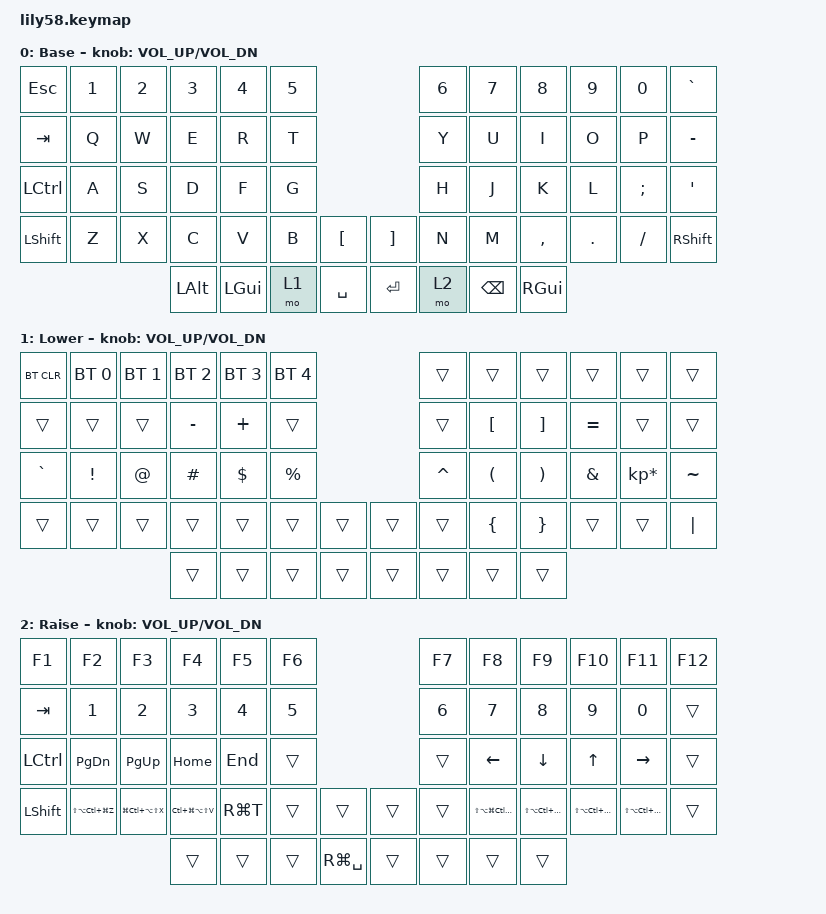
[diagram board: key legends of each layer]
/*
 * Copyright (c) 2020 The ZMK Contributors
 *
 * SPDX-License-Identifier: MIT
 */

#include <behaviors.dtsi>
#include <dt-bindings/zmk/bt.h>
#include <dt-bindings/zmk/keys.h>

/ {
    macros {
        spotlight: spotlight {
            compatible = "zmk,behavior-macro";
            #binding-cells = <0>;
            bindings = <&kp RG(SPACE)>;
            label = "SPOTLIGHT";
        };

        expand_window: expand_window {
            compatible = "zmk,behavior-macro";
            #binding-cells = <0>;
            bindings =
                <&macro_press>,
                <&kp LEFT_SHIFT &kp LCTRL &kp LEFT_ALT &kp LEFT_GUI &kp V>;

            label = "EXPAND_WINDOW";
        };

        next_desktop: next_desktop {
            compatible = "zmk,behavior-macro";
            #binding-cells = <0>;
            bindings =
                <&macro_press>,
                <&kp LEFT_SHIFT &kp RCTRL &kp LEFT_ALT &kp LEFT_GUI &kp X>;

            label = "NEXT_DESKTOP";
        };

        previous_desktop: previous_desktop {
            compatible = "zmk,behavior-macro";
            #binding-cells = <0>;
            bindings =
                <&macro_press>,
                <&kp LEFT_SHIFT &kp LCTRL &kp LEFT_ALT &kp LEFT_GUI &kp Z>;

            label = "PREVIOUS_DESKTOP";
        };

        new_tab: new_tab {
            compatible = "zmk,behavior-macro";
            #binding-cells = <0>;
            bindings = <&macro_press>, <&kp LEFT_GUI &kp T>;

            label = "NEW_TAB";
        };

        window_to_left: window_to_left {
            compatible = "zmk,behavior-macro";
            #binding-cells = <0>;
            bindings =
                <&macro_press>,
                <&kp LEFT_SHIFT &kp LCTRL &kp LEFT_ALT &kp LEFT_GUI &kp LEFT>;

            label = "WINDOW_TO_LEFT";
        };

        window_to_right: window_to_right {
            compatible = "zmk,behavior-macro";
            #binding-cells = <0>;
            bindings =
                <&macro_press>,
                <&kp LEFT_SHIFT &kp LCTRL &kp LEFT_ALT &kp LEFT_GUI &kp RIGHT_ARROW>;

            label = "WINDOW_TO_RIGHT";
        };

        window_to_top: window_to_top {
            compatible = "zmk,behavior-macro";
            #binding-cells = <0>;
            bindings =
                <&macro_press>,
                <&kp LEFT_SHIFT &kp LCTRL &kp LEFT_ALT &kp LEFT_GUI &kp UP_ARROW>;

            label = "WINDOW_TO_TOP";
        };

        window_to_down: window_to_down {
            compatible = "zmk,behavior-macro";
            #binding-cells = <0>;
            bindings =
                <&macro_press>,
                <&kp LEFT_SHIFT &kp LCTRL &kp LEFT_ALT &kp LEFT_GUI &kp DOWN_ARROW>;

            label = "WINDOW_TO_DOWN";
        };
    };

    keymap {
        compatible = "zmk,keymap";

        default_layer {
            // ------------------------------------------------------------------------------------------------------------
            // |  ESC  |  1  |  2  |  3   |  4   |  5   |                   |  6   |  7    |  8    |  9   |   0   |   `   |
            // |  TAB  |  Q  |  W  |  E   |  R   |  T   |                   |  Y   |  U    |  I    |  O   |   P   |   -   |
            // |  CTRL |  A  |  S  |  D   |  F   |  G   |                   |  H   |  J    |  K    |  L   |   ;   |   '   |
            // | SHIFT |  Z  |  X  |  C   |  V   |  B   |   "["  |  |  "]"  |  N   |  M    |  ,    |  .   |   /   | SHIFT |
            //                     | ALT  | GUI  | LOWER|  SPACE |  | ENTER | RAISE| BSPC  | GUI   |

            display-name = "Base";
            bindings = <
&kp ESC    &kp N1  &kp N2  &kp N3    &kp N4    &kp N5                         &kp N6  &kp N7    &kp N8     &kp N9   &kp N0    &kp GRAVE
&kp TAB    &kp Q   &kp W   &kp E     &kp R     &kp T                          &kp Y   &kp U     &kp I      &kp O    &kp P     &kp MINUS
&kp LCTRL  &kp A   &kp S   &kp D     &kp F     &kp G                          &kp H   &kp J     &kp K      &kp L    &kp SEMI  &kp SQT
&kp LSHFT  &kp Z   &kp X   &kp C     &kp V     &kp B   &kp LBKT     &kp RBKT  &kp N   &kp M     &kp COMMA  &kp DOT  &kp FSLH  &kp RSHFT
                           &kp LALT  &kp LGUI  &mo 1   &kp SPACE    &kp RET   &mo 2   &kp BSPC  &kp RGUI
            >;

            sensor-bindings = <&inc_dec_kp C_VOL_UP C_VOL_DN>;
        };

        lower_layer {
            // ------------------------------------------------------------------------------------------------------------
            // | BTCLR | BT1 | BT2 |  BT3 |  BT4 |  BT5 |                   |      |       |       |      |       |       |
            // |  F1   |  F2 |  F3 |  F4  |  F5  |  F6  |                   |  F7  |  F8   |  F9   |  F10 |  F11  |  F12  |
            // |   `   |  !  |  @  |  #   |  $   |  %   |                   |  ^   |  &    |  *    |  (   |   )   |   ~   |
            // |       |     |     |      |      |      |        |  |       |      |  _    |  +    |  {   |   }   |  "|"  |
            //                     |      |      |      |        |  |       |      |       |       |

            display-name = "Lower";
            bindings = <
&bt BT_CLR  &bt BT_SEL 0  &bt BT_SEL 1  &bt BT_SEL 2  &bt BT_SEL 3  &bt BT_SEL 4                    &trans     &trans                &trans                 &trans     &trans           &trans
&trans      &trans        &trans        &kp MINUS     &kp PLUS      &trans                          &trans     &kp LEFT_BRACKET      &kp RIGHT_BRACKET      &kp EQUAL  &trans           &trans
&kp GRAVE   &kp EXCL      &kp AT        &kp HASH      &kp DOLLAR    &kp PRCNT                       &kp CARET  &kp LEFT_PARENTHESIS  &kp RIGHT_PARENTHESIS  &kp AMPS   &kp KP_MULTIPLY  &kp TILDE
&trans      &trans        &trans        &trans        &trans        &trans        &trans    &trans  &trans     &kp LEFT_BRACE        &kp RIGHT_BRACE        &trans     &trans           &kp PIPE
                                        &trans        &trans        &trans        &trans    &trans  &trans     &trans                &trans
            >;

            sensor-bindings = <&inc_dec_kp C_VOL_UP C_VOL_DN>;
        };

        raise_layer {
            // ------------------------------------------------------------------------------------------------------------
            // |       |     |     |      |      |      |                   |      |       |       |      |       |       |
            // |   `   |  1  |  2  |  3   |  4   |  5   |                   |  6   |   7   |   8   |  9   |   0   |       |
            // |   F1  |  F2 |  F3 |  F4  |  F5  |  F6  |                   |      |   <-  |   v   |  ^   |  ->   |       |
            // |   F7  |  F8 |  F9 |  F10 |  F11 |  F12 |        |  |       |  +   |   -   |   =   |  [   |   ]   |   \   |
            //                     |      |      |      |        |  |       |      |       |       |

            display-name = "Raise";
            bindings = <
&kp F1          &kp F2                 &kp F3                 &kp F4                 &kp F5     &kp F6                           &kp F7  &kp F8                          &kp F9                          &kp F10                       &kp F11                    &kp F12
&kp TAB         &kp N1                 &kp N2                 &kp N3                 &kp N4     &kp N5                           &kp N6  &kp N7                          &kp N8                          &kp N9                        &kp N0                     &trans
&kp LCTRL       &kp PAGE_DOWN          &kp PG_UP              &kp HOME               &kp END    &trans                           &trans  &kp LEFT                        &kp DOWN                        &kp UP                        &kp RIGHT                  &trans
&kp LEFT_SHIFT  &kp LS(LA(LC(LG(Z))))  &kp LG(LC(LA(LS(X))))  &kp LC(LG(LA(LS(V))))  &kp RG(T)  &trans  &trans           &trans  &trans  &kp LS(LA(LG(LC(LEFT_ARROW))))  &kp LS(LA(LC(LG(DOWN_ARROW))))  &kp LS(LA(LC(LG(UP_ARROW))))  &kp LS(LA(LC(LG(RIGHT))))  &trans
                                                              &trans                 &trans     &trans  &kp RG(SPACE)    &trans  &trans  &trans                          &trans
            >;

            sensor-bindings = <&inc_dec_kp C_VOL_UP C_VOL_DN>;
        };

        extra_1 { status = "reserved"; };

        extra_2 { status = "reserved"; };

        extra_3 { status = "reserved"; };
    };
};
